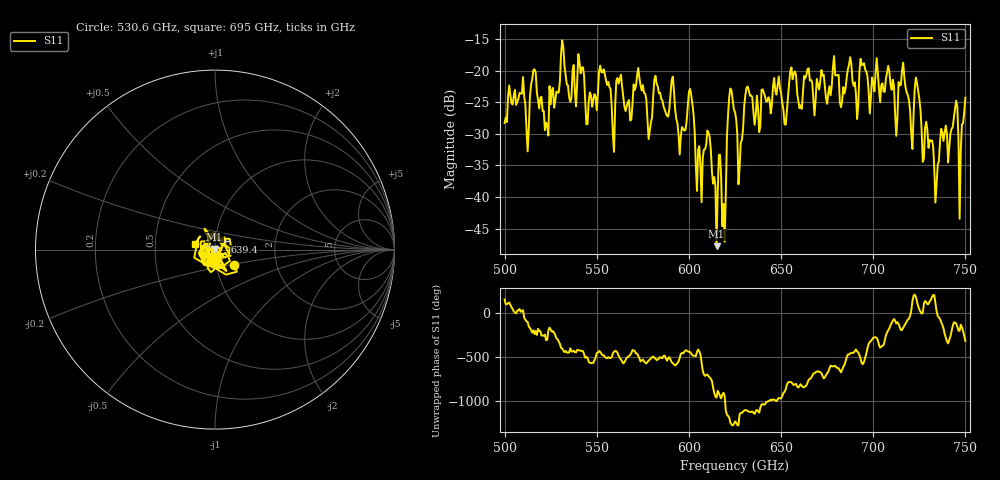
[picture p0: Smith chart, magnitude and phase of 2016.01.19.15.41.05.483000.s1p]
!Created with skrf (http://scikit-rf.org).
# GHz S RI R 50.0
!freq ReS11 ImS11
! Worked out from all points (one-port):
!   401 points, 500 GHz to 750 GHz, reference 50 ohm
!   lowest |S11| = -47.8 dB at 615 GHz (marker M1), VSWR 1.01, Z = 49.8 + j0.355 ohm
!   |S11| at or under -10 dB: start of sweep to end of sweep
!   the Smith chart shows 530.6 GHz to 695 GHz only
!   S11 on the Smith chart (normalised r, x): 530.6 GHz: 1.22, -0.21; 639.4 GHz: 1.11, +0.10; 695 GHz: 0.80, +0.05
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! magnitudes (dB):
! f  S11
! 500 GHz  -28.3
! 512.5 GHz  -32.8
! 515.6 GHz  -19.9
! 522.5 GHz  -28.2
! 530.6 GHz  -17.3
! 531.2 GHz  -15.2
! 545 GHz  -28.4
! 562.5 GHz  -21.3
! 593.8 GHz  -28.3
! 601.2 GHz  -23.9
! 605.6 GHz  -32.0
! 610.6 GHz  -29.8
! 615 GHz  -47.8
! 618.8 GHz  -41.1
! 621.9 GHz  -24.1
! 625 GHz  -26.5
! 627.5 GHz  -35.3
! 631.2 GHz  -22.7
! 639.4 GHz  -23.0
! 656.2 GHz  -21.4
! 687.5 GHz  -17.9
! 695 GHz  -18.8
! 718.8 GHz  -23.8
! 723.8 GHz  -22.0
! 734.4 GHz  -37.9
! 744.4 GHz  -26.0
! 747.5 GHz  -32.6
! 750 GHz  -24.3
